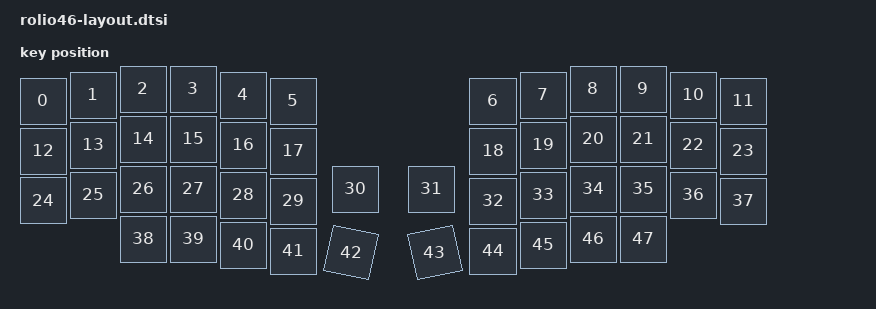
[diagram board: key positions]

#include <physical_layouts.dtsi>
#include "position_map.dtsi"

/ {
    rolio46_layout: rolio46_layout {
        compatible = "zmk,physical-layout";
        display-name = "Rolio46";
    
        keys  //                     w   h    x    y     rot    rx    ry
            = <&key_physical_attrs 100 100    0   24       0     0     0>
            , <&key_physical_attrs 100 100  100   12       0     0     0>
            , <&key_physical_attrs 100 100  200    0       0     0     0>
            , <&key_physical_attrs 100 100  300    0       0     0     0>
            , <&key_physical_attrs 100 100  400   12       0     0     0>
            , <&key_physical_attrs 100 100  500   24       0     0     0>
            , <&key_physical_attrs 100 100  900   24       0     0     0>
            , <&key_physical_attrs 100 100 1000   12       0     0     0>
            , <&key_physical_attrs 100 100 1100    0       0     0     0>
            , <&key_physical_attrs 100 100 1200    0       0     0     0>
            , <&key_physical_attrs 100 100 1300   12       0     0     0>
            , <&key_physical_attrs 100 100 1400   24       0     0     0>
            , <&key_physical_attrs 100 100    0  124       0     0     0>
            , <&key_physical_attrs 100 100  100  112       0     0     0>
            , <&key_physical_attrs 100 100  200  100       0     0     0>
            , <&key_physical_attrs 100 100  300  100       0     0     0>
            , <&key_physical_attrs 100 100  400  112       0     0     0>
            , <&key_physical_attrs 100 100  500  124       0     0     0>
            , <&key_physical_attrs 100 100  900  124       0     0     0>
            , <&key_physical_attrs 100 100 1000  112       0     0     0>
            , <&key_physical_attrs 100 100 1100  100       0     0     0>
            , <&key_physical_attrs 100 100 1200  100       0     0     0>
            , <&key_physical_attrs 100 100 1300  112       0     0     0>
            , <&key_physical_attrs 100 100 1400  124       0     0     0>
            , <&key_physical_attrs 100 100    0  223       0     0     0>
            , <&key_physical_attrs 100 100  100  212       0     0     0>
            , <&key_physical_attrs 100 100  200  200       0     0     0>
            , <&key_physical_attrs 100 100  300  200       0     0     0>
            , <&key_physical_attrs 100 100  400  212       0     0     0>
            , <&key_physical_attrs 100 100  500  224       0     0     0>
            , <&key_physical_attrs 100 100  624  200       0     0     0>
            , <&key_physical_attrs 100 100  776  200       0     0     0>
            , <&key_physical_attrs 100 100  900  224       0     0     0>
            , <&key_physical_attrs 100 100 1000  212       0     0     0>
            , <&key_physical_attrs 100 100 1100  200       0     0     0>
            , <&key_physical_attrs 100 100 1200  200       0     0     0>
            , <&key_physical_attrs 100 100 1300  212       0     0     0>
            , <&key_physical_attrs 100 100 1400  224       0     0     0>
            , <&key_physical_attrs 100 100  200  300       0     0     0>
            , <&key_physical_attrs 100 100  300  300       0     0     0>
            , <&key_physical_attrs 100 100  400  312       0     0     0>
            , <&key_physical_attrs 100 100  500  324       0     0     0>
            , <&key_physical_attrs 100 100  624  312    1200   600   333>
            , <&key_physical_attrs 100 100  776  312 (-1200)   900   333>
            , <&key_physical_attrs 100 100  900  324       0     0     0>
            , <&key_physical_attrs 100 100 1000  312       0     0     0>
            , <&key_physical_attrs 100 100 1100  300       0     0     0>
            , <&key_physical_attrs 100 100 1200  300       0     0     0>
            ;
    };
};

&layout_rolio46_position_map  {
    layout_rolio46_map: layout_rolio46 {
        physical-layout = <&rolio46_layout>;
        positions
            = < 0  1  2  3  4  5         6  7  8  9 10 11>
            , <12 13 14 15 16 17        18 19 20 21 22 23>
            , <24 25 26 27 28 29 30  31 32 33 34 35 36 37>
            , <      38 39 40 41 42  43 44 45 46 47      >;
    };

};
